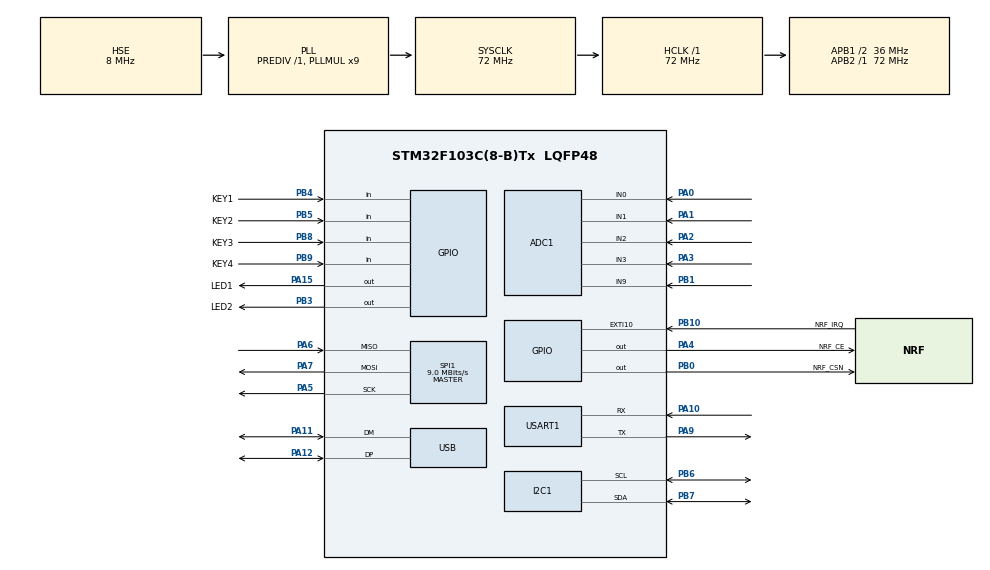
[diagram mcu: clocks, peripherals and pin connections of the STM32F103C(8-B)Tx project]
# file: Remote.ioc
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ADC1.Channel-0\#ChannelRegularConversion=ADC_CHANNEL_0
ADC1.ContinuousConvMode=DISABLE
ADC1.DataAlign=ADC_DATAALIGN_RIGHT
ADC1.DiscontinuousConvMode=DISABLE
ADC1.EnableAnalogWatchDog=false
ADC1.EnableRegularConversion=ENABLE
ADC1.ExternalTrigConv=ADC_SOFTWARE_START
ADC1.InjNumberOfConversion=0
ADC1.NbrOfConversion=1
ADC1.NbrOfConversionFlag=1
ADC1.Rank-0\#ChannelRegularConversion=1
ADC1.SamplingTime-0\#ChannelRegularConversion=ADC_SAMPLETIME_239CYCLES_5
ADC1.ScanConvMode=ADC_SCAN_DISABLE
ADC1.master=1
FREERTOS.BinarySemaphores01=NRF_status,Dynamic,NULL;Data_save,Dynamic,NULL;NRF_RX_OK,Dynamic,NULL
FREERTOS.Tasks01=defaultTask,0,128,StartDefaultTask,Default,NULL,Dynamic,NULL,NULL;myTask_ADC,2,128,StartTask_ADC,Default,NULL,Dynamic,NULL,NULL;myTask_Nrf,0,128,StartTask_NRF,Default,NULL,Dynamic,NULL,NULL;myTask_LED,-2,128,StartTask_LED,Default,NULL,Dynamic,NULL,NULL;myTask_OLED,-2,128,StartTask_OLED,Default,NULL,Dynamic,NULL,NULL;myTask_Key,0,128,StartTask_KEY,Default,NULL,Dynamic,NULL,NULL;Param_Task,-2,128,Start_Param_Task,Default,NULL,Dynamic,NULL,NULL
FREERTOS.configTOTAL_HEAP_SIZE=10240
Mcu.Family=STM32F1
Mcu.Name=STM32F103C(8-B)Tx
Mcu.Package=LQFP48
NVIC.EXTI15_10_IRQn=true\:5\:0\:false\:false\:true\:true\:true
NVIC.PriorityGroup=NVIC_PRIORITYGROUP_4
PA0-WKUP.Signal=ADCx_IN0
PA1.Signal=ADCx_IN1
PA10.Mode=Asynchronous
PA10.Signal=USART1_RX
PA11.Mode=Device
PA11.Signal=USB_DM
PA12.Mode=Device
PA12.Signal=USB_DP
PA13.Mode=Serial_Wire
PA13.Signal=SYS_JTMS-SWDIO
PA14.Mode=Serial_Wire
PA14.Signal=SYS_JTCK-SWCLK
PA15.GPIO_Label=LED1
PA15.GPIO_ModeDefaultOutputPP=GPIO_MODE_OUTPUT_PP
PA15.GPIO_PuPd=GPIO_PULLUP
PA15.GPIO_Speed=GPIO_SPEED_FREQ_HIGH
PA15.PinState=GPIO_PIN_SET
PA15.Signal=GPIO_Output
PA2.Signal=ADCx_IN2
PA3.Signal=ADCx_IN3
PA4.GPIO_Label=NRF_CE
PA4.GPIO_PuPd=GPIO_PULLUP
PA4.GPIO_Speed=GPIO_SPEED_FREQ_HIGH
PA4.PinState=GPIO_PIN_SET
PA4.Signal=GPIO_Output
PA5.Mode=Full_Duplex_Master
PA5.Signal=SPI1_SCK
PA6.Mode=Full_Duplex_Master
PA6.Signal=SPI1_MISO
PA7.Mode=Full_Duplex_Master
PA7.Signal=SPI1_MOSI
PA9.Mode=Asynchronous
PA9.Signal=USART1_TX
PB0.GPIO_Label=NRF_CSN
PB0.GPIO_PuPd=GPIO_PULLUP
PB0.GPIO_Speed=GPIO_SPEED_FREQ_HIGH
PB0.PinState=GPIO_PIN_SET
PB0.Signal=GPIO_Output
PB1.Signal=ADCx_IN9
PB10.GPIO_Label=NRF_IRQ
PB10.GPIO_ModeDefaultEXTI=GPIO_MODE_IT_FALLING
PB10.GPIO_PuPd=GPIO_PULLUP
PB10.Signal=GPXTI10
PB3.GPIO_Label=LED2
PB3.GPIO_ModeDefaultOutputPP=GPIO_MODE_OUTPUT_PP
PB3.GPIO_PuPd=GPIO_PULLUP
PB3.GPIO_Speed=GPIO_SPEED_FREQ_HIGH
PB3.PinState=GPIO_PIN_RESET
PB3.Signal=GPIO_Output
PB4.GPIO_Label=KEY1
PB4.GPIO_PuPd=GPIO_PULLDOWN
PB4.Signal=GPIO_Input
PB5.GPIO_Label=KEY2
PB5.GPIO_PuPd=GPIO_PULLDOWN
PB5.Signal=GPIO_Input
PB6.Mode=I2C
PB6.Signal=I2C1_SCL
PB7.Mode=I2C
PB7.Signal=I2C1_SDA
PB8.GPIO_Label=KEY3
PB8.GPIO_PuPd=GPIO_PULLDOWN
PB8.Signal=GPIO_Input
PB9.GPIO_Label=KEY4
PB9.GPIO_PuPd=GPIO_PULLDOWN
PB9.Signal=GPIO_Input
PD0-OSC_IN.Mode=HSE-External-Oscillator
PD0-OSC_IN.Signal=RCC_OSC_IN
PD1-OSC_OUT.Mode=HSE-External-Oscillator
PD1-OSC_OUT.Signal=RCC_OSC_OUT
ProjectManager.HeapSize=0x200
ProjectManager.StackSize=0x400
ProjectManager.TargetToolchain=MDK-ARM V5
RCC.ADCPresc=RCC_ADCPCLK2_DIV6
RCC.AHBFreq_Value=72000000
RCC.APB1CLKDivider=RCC_HCLK_DIV2
RCC.APB1Freq_Value=36000000
RCC.APB1TimFreq_Value=72000000
RCC.APB2Freq_Value=72000000
RCC.APB2TimFreq_Value=72000000
RCC.HCLKFreq_Value=72000000
RCC.PLLMUL=RCC_PLL_MUL9
RCC.SYSCLKFreq_VALUE=72000000
RCC.SYSCLKSource=RCC_SYSCLKSOURCE_PLLCLK
RCC.USBFreq_Value=48000000
RCC.USBPrescaler=RCC_USBCLKSOURCE_PLL_DIV1_5
SH.ADCx_IN0.0=ADC1_IN0,IN0
SH.ADCx_IN1.0=ADC1_IN1,IN1
SH.ADCx_IN2.0=ADC1_IN2,IN2
SH.ADCx_IN3.0=ADC1_IN3,IN3
SH.ADCx_IN9.0=ADC1_IN9,IN9
SPI1.BaudRatePrescaler=SPI_BAUDRATEPRESCALER_8
SPI1.CLKPhase=SPI_PHASE_1EDGE
SPI1.CLKPolarity=SPI_POLARITY_LOW
SPI1.CalculateBaudRate=9.0 MBits/s
SPI1.Direction=SPI_DIRECTION_2LINES
SPI1.Mode=SPI_MODE_MASTER
SPI1.VirtualType=VM_MASTER
USART1.VirtualMode=VM_ASYNC
VP_FREERTOS_VS_ENABLE.Mode=Enabled
board=custom

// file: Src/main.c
/**
  ******************************************************************************
  * @file           : main.c
  * @brief          : Main program body
  ******************************************************************************
  * This notice applies to any and all portions of this file
  * that are not between comment pairs USER CODE BEGIN and
  * USER CODE END. Other portions of this file, whether
  * inserted by the user or by software development tools
  * are owned by their respective copyright owners.
  *
  * Copyright (c) 2018 STMicroelectronics International N.V.
  * All rights reserved.
  *
  * Redistribution and use in source and binary forms, with or without
  * modification, are permitted, provided that the following conditions are met:
  *
  * 1. Redistribution of source code must retain the above copyright notice,
  *    this list of conditions and the following disclaimer.
  * 2. Redistributions in binary form must reproduce the above copyright notice,
  *    this list of conditions and the following disclaimer in the documentation
  *    and/or other materials provided with the distribution.
  * 3. Neither the name of STMicroelectronics nor the names of other
  *    contributors to this software may be used to endorse or promote products
  *    derived from this software without specific written permission.
  * 4. This software, including modifications and/or derivative works of this
  *    software, must execute solely and exclusively on microcontroller or
  *    microprocessor devices manufactured by or for STMicroelectronics.
  * 5. Redistribution and use of this software other than as permitted under
  *    this license is void and will automatically terminate your rights under
  *    this license.
  *
  * THIS SOFTWARE IS PROVIDED BY STMICROELECTRONICS AND CONTRIBUTORS "AS IS"
  * AND ANY EXPRESS, IMPLIED OR STATUTORY WARRANTIES, INCLUDING, BUT NOT
  * LIMITED TO, THE IMPLIED WARRANTIES OF MERCHANTABILITY, FITNESS FOR A
  * PARTICULAR PURPOSE AND NON-INFRINGEMENT OF THIRD PARTY INTELLECTUAL PROPERTY
  * RIGHTS ARE DISCLAIMED TO THE FULLEST EXTENT PERMITTED BY LAW. IN NO EVENT
  * SHALL STMICROELECTRONICS OR CONTRIBUTORS BE LIABLE FOR ANY DIRECT, INDIRECT,
  * INCIDENTAL, SPECIAL, EXEMPLARY, OR CONSEQUENTIAL DAMAGES (INCLUDING, BUT NOT
  * LIMITED TO, PROCUREMENT OF SUBSTITUTE GOODS OR SERVICES; LOSS OF USE, DATA,
  * OR PROFITS; OR BUSINESS INTERRUPTION) HOWEVER CAUSED AND ON ANY THEORY OF
  * LIABILITY, WHETHER IN CONTRACT, STRICT LIABILITY, OR TORT (INCLUDING
  * NEGLIGENCE OR OTHERWISE) ARISING IN ANY WAY OUT OF THE USE OF THIS SOFTWARE,
  * EVEN IF ADVISED OF THE POSSIBILITY OF SUCH DAMAGE.
  *
  ******************************************************************************
  */
#include "main.h"
#include "stm32f1xx_hal.h"
#include "cmsis_os.h"
#include "adc.h"
#include "i2c.h"
#include "spi.h"
#include "usart.h"
#include "usb.h"
#include "gpio.h"

/* USER CODE BEGIN Includes */
#include "oled.h"
#include "stmflash.h"
/* USER CODE END Includes */

/* USER CODE BEGIN PV */
/* Private variables ---------------------------------------------------------*/
uint16_t check = 0;
/* USER CODE END PV */

void SystemClock_Config(void);
void MX_FREERTOS_Init(void);

/* USER CODE BEGIN PFP */
/* Private function prototypes -----------------------------------------------*/

/* USER CODE END PFP */

int main(void)
{

  /* MCU Configuration----------------------------------------------------------*/

  /* Reset of all peripherals, Initializes the Flash interface and the Systick. */
  HAL_Init();

  /* Configure the system clock */
  SystemClock_Config();

  /* Initialize all configured peripherals */
  MX_GPIO_Init();
  MX_ADC1_Init();
  MX_I2C1_Init();
  MX_SPI1_Init();
  MX_USB_PCD_Init();
  MX_USART1_UART_Init();
  /* USER CODE BEGIN 2 */
  HAL_Delay(1000);
  OLED_Init();
  HAL_Delay(1000);
  OLED_Init();
  oled_dis_str();

  /* USER CODE END 2 */

  /* Call init function for freertos objects (in freertos.c) */
  MX_FREERTOS_Init();

  /* Start scheduler */
  osKernelStart();

  /* We should never get here as control is now taken by the scheduler */

  /* Infinite loop */
  while (1)
  {

  }

}

void SystemClock_Config(void)
{

  RCC_OscInitTypeDef RCC_OscInitStruct;
  RCC_ClkInitTypeDef RCC_ClkInitStruct;
  RCC_PeriphCLKInitTypeDef PeriphClkInit;

    /**Initializes the CPU, AHB and APB busses clocks
    */
  RCC_OscInitStruct.OscillatorType = RCC_OSCILLATORTYPE_HSE;
  RCC_OscInitStruct.HSEState = RCC_HSE_ON;
  RCC_OscInitStruct.HSEPredivValue = RCC_HSE_PREDIV_DIV1;
  RCC_OscInitStruct.HSIState = RCC_HSI_ON;
  RCC_OscInitStruct.PLL.PLLState = RCC_PLL_ON;
  RCC_OscInitStruct.PLL.PLLSource = RCC_PLLSOURCE_HSE;
  RCC_OscInitStruct.PLL.PLLMUL = RCC_PLL_MUL9;
  if (HAL_RCC_OscConfig(&RCC_OscInitStruct) != HAL_OK)
  {
    _Error_Handler(__FILE__, __LINE__);
  }

    /**Initializes the CPU, AHB and APB busses clocks
    */
  RCC_ClkInitStruct.ClockType = RCC_CLOCKTYPE_HCLK|RCC_CLOCKTYPE_SYSCLK
                              |RCC_CLOCKTYPE_PCLK1|RCC_CLOCKTYPE_PCLK2;
  RCC_ClkInitStruct.SYSCLKSource = RCC_SYSCLKSOURCE_PLLCLK;
  RCC_ClkInitStruct.AHBCLKDivider = RCC_SYSCLK_DIV1;
  RCC_ClkInitStruct.APB1CLKDivider = RCC_HCLK_DIV2;
  RCC_ClkInitStruct.APB2CLKDivider = RCC_HCLK_DIV1;

  if (HAL_RCC_ClockConfig(&RCC_ClkInitStruct, FLASH_LATENCY_2) != HAL_OK)
  {
    _Error_Handler(__FILE__, __LINE__);
  }

  PeriphClkInit.PeriphClockSelection = RCC_PERIPHCLK_ADC|RCC_PERIPHCLK_USB;
  PeriphClkInit.AdcClockSelection = RCC_ADCPCLK2_DIV6;
  PeriphClkInit.UsbClockSelection = RCC_USBCLKSOURCE_PLL_DIV1_5;
  if (HAL_RCCEx_PeriphCLKConfig(&PeriphClkInit) != HAL_OK)
  {
    _Error_Handler(__FILE__, __LINE__);
  }

    /**Configure the Systick interrupt time
    */
  HAL_SYSTICK_Config(HAL_RCC_GetHCLKFreq()/1000);

    /**Configure the Systick
    */
  HAL_SYSTICK_CLKSourceConfig(SYSTICK_CLKSOURCE_HCLK);

  /* SysTick_IRQn interrupt configuration */
  HAL_NVIC_SetPriority(SysTick_IRQn, 15, 0);
}

void _Error_Handler(char *file, int line)
{
  while(1)
  {
  }
}

/************************ (C) COPYRIGHT STMicroelectronics *****END OF FILE****/

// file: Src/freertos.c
/**
  ******************************************************************************
  * File Name          : freertos.c
  * Description        : Code for freertos applications
  ******************************************************************************
  * This notice applies to any and all portions of this file
  * that are not between comment pairs USER CODE BEGIN and
  * USER CODE END. Other portions of this file, whether
  * inserted by the user or by software development tools
  * are owned by their respective copyright owners.
  *
  * Copyright (c) 2018 STMicroelectronics International N.V.
  * All rights reserved.
  *
  * Redistribution and use in source and binary forms, with or without
  * modification, are permitted, provided that the following conditions are met:
  *
  * 1. Redistribution of source code must retain the above copyright notice,
  *    this list of conditions and the following disclaimer.
  * 2. Redistributions in binary form must reproduce the above copyright notice,
  *    this list of conditions and the following disclaimer in the documentation
  *    and/or other materials provided with the distribution.
  * 3. Neither the name of STMicroelectronics nor the names of other
  *    contributors to this software may be used to endorse or promote products
  *    derived from this software without specific written permission.
  * 4. This software, including modifications and/or derivative works of this
  *    software, must execute solely and exclusively on microcontroller or
  *    microprocessor devices manufactured by or for STMicroelectronics.
  * 5. Redistribution and use of this software other than as permitted under
  *    this license is void and will automatically terminate your rights under
  *    this license.
  *
  * THIS SOFTWARE IS PROVIDED BY STMICROELECTRONICS AND CONTRIBUTORS "AS IS"
  * AND ANY EXPRESS, IMPLIED OR STATUTORY WARRANTIES, INCLUDING, BUT NOT
  * LIMITED TO, THE IMPLIED WARRANTIES OF MERCHANTABILITY, FITNESS FOR A
  * PARTICULAR PURPOSE AND NON-INFRINGEMENT OF THIRD PARTY INTELLECTUAL PROPERTY
  * RIGHTS ARE DISCLAIMED TO THE FULLEST EXTENT PERMITTED BY LAW. IN NO EVENT
  * SHALL STMICROELECTRONICS OR CONTRIBUTORS BE LIABLE FOR ANY DIRECT, INDIRECT,
  * INCIDENTAL, SPECIAL, EXEMPLARY, OR CONSEQUENTIAL DAMAGES (INCLUDING, BUT NOT
  * LIMITED TO, PROCUREMENT OF SUBSTITUTE GOODS OR SERVICES; LOSS OF USE, DATA,
  * OR PROFITS; OR BUSINESS INTERRUPTION) HOWEVER CAUSED AND ON ANY THEORY OF
  * LIABILITY, WHETHER IN CONTRACT, STRICT LIABILITY, OR TORT (INCLUDING
  * NEGLIGENCE OR OTHERWISE) ARISING IN ANY WAY OUT OF THE USE OF THIS SOFTWARE,
  * EVEN IF ADVISED OF THE POSSIBILITY OF SUCH DAMAGE.
  *
  ******************************************************************************
  */

#include "FreeRTOS.h"
#include "task.h"
#include "cmsis_os.h"

/* USER CODE BEGIN Includes */
#include "adc.h"
#include "oled.h"
#include "usart.h"
#include "24l01.h"
#include "gpio.h"
#include "stmflash.h"
#include "24l01.h"
/* USER CODE END Includes */

osThreadId defaultTaskHandle;
osThreadId myTask_ADCHandle;
osThreadId myTask_NrfHandle;
osThreadId myTask_LEDHandle;
osThreadId myTask_OLEDHandle;
osThreadId myTask_KeyHandle;
osThreadId Param_TaskHandle;
osSemaphoreId NRF_statusHandle;
osSemaphoreId Data_saveHandle;
osSemaphoreId NRF_RX_OKHandle;

/* USER CODE BEGIN Variables */
osMailQId ADC_ValueHandle;
osMailQId Nrf_TX_BuffHandle;
osMailQId RC_Offest_buffHandle;

extern uint16_t RC_ADC_Buff[4];
int16_t RC_offest[4];
extern  uint8_t Tx_buff[33] ;
extern uint8_t key_status;
uint8_t IRQ_timeout = 0;

uint16_t bat_value = 0;
  float bat_voltage;
/* USER CODE END Variables */

void StartDefaultTask(void const * argument);
void StartTask_ADC(void const * argument);
void StartTask_NRF(void const * argument);
void StartTask_LED(void const * argument);
void StartTask_OLED(void const * argument);
void StartTask_KEY(void const * argument);
void Start_Param_Task(void const * argument);

void MX_FREERTOS_Init(void); /* (MISRA C 2004 rule 8.1) */

/* Hook prototypes */

/* Init FreeRTOS */

void MX_FREERTOS_Init(void) {

  /* Create the semaphores(s) */
  /* definition and creation of NRF_status */
  osSemaphoreDef(NRF_status);
  NRF_statusHandle = osSemaphoreCreate(osSemaphore(NRF_status), 1);

  /* definition and creation of Data_save */
  osSemaphoreDef(Data_save);
  Data_saveHandle = osSemaphoreCreate(osSemaphore(Data_save), 1);

  /* definition and creation of NRF_RX_OK */
  osSemaphoreDef(NRF_RX_OK);
  NRF_RX_OKHandle = osSemaphoreCreate(osSemaphore(NRF_RX_OK), 1);

  /* Create the thread(s) */
  /* definition and creation of defaultTask */
  osThreadDef(defaultTask, StartDefaultTask, osPriorityNormal, 0, 128);
  defaultTaskHandle = osThreadCreate(osThread(defaultTask), NULL);

  /* definition and creation of myTask_ADC */
  osThreadDef(myTask_ADC, StartTask_ADC, osPriorityHigh, 0, 128);
  myTask_ADCHandle = osThreadCreate(osThread(myTask_ADC), NULL);

  /* definition and creation of myTask_Nrf */
  osThreadDef(myTask_Nrf, StartTask_NRF, osPriorityNormal, 0, 128);
  myTask_NrfHandle = osThreadCreate(osThread(myTask_Nrf), NULL);

  /* definition and creation of myTask_LED */
  osThreadDef(myTask_LED, StartTask_LED, osPriorityLow, 0, 128);
  myTask_LEDHandle = osThreadCreate(osThread(myTask_LED), NULL);

  /* definition and creation of myTask_OLED */
  osThreadDef(myTask_OLED, StartTask_OLED, osPriorityLow, 0, 128);
  myTask_OLEDHandle = osThreadCreate(osThread(myTask_OLED), NULL);

  /* definition and creation of myTask_Key */
  osThreadDef(myTask_Key, StartTask_KEY, osPriorityNormal, 0, 128);
  myTask_KeyHandle = osThreadCreate(osThread(myTask_Key), NULL);

  /* definition and creation of Param_Task */
  osThreadDef(Param_Task, Start_Param_Task, osPriorityLow, 0, 128);
  Param_TaskHandle = osThreadCreate(osThread(Param_Task), NULL);

  /* USER CODE BEGIN RTOS_QUEUES */
  /* add queues, ... */
  /* definition and creation of ADC_Value */
  /* what about the sizeof here??? cd native code */
  osMailQDef(ADC_Value, 4, uint16_t);
  ADC_ValueHandle = osMailCreate(osMailQ(ADC_Value), NULL);

  /* definition and creation of Nrf_TX_Buff */
  /* what about the sizeof here??? cd native code */
  osMailQDef(Nrf_TX_Buff, 4, uint16_t);
  Nrf_TX_BuffHandle = osMailCreate(osMailQ(Nrf_TX_Buff), NULL);

  /* definition and creation of RC_Offest_buff */
  /* what about the sizeof here??? cd native code */
  osMailQDef(RC_Offest_buff, 4, int16_t);
  RC_Offest_buffHandle = osMailCreate(osMailQ(RC_Offest_buff), NULL);
  /* USER CODE END RTOS_QUEUES */
}

/* StartDefaultTask function */
void StartDefaultTask(void const * argument)
{

  for(;;)
  {
    osDelay(1);
  }
}

/* StartTask_ADC function */
void StartTask_ADC(void const * argument)
{
  /* USER CODE BEGIN StartTask_ADC */
  uint8_t i = 0;
  /* Infinite loop */
  for(;;)
  {
    Get_Adc_Average(10);
    bat_value = Get_Adc(ADC_CHANNEL_9);
    bat_voltage = (float)(bat_value *2 * 330 )/4096;
    for (i = 0;i<4 ;i++)
      RC_ADC_Buff[i] += RC_offest[i];
    osMailPut(ADC_ValueHandle,RC_ADC_Buff);
    osMailPut(Nrf_TX_BuffHandle,RC_ADC_Buff);
    osDelay(10);
  }
  /* USER CODE END StartTask_ADC */
}

/* StartTask_NRF function */
void StartTask_NRF(void const * argument)
{
  /* USER CODE BEGIN StartTask_NRF */
  osEvent TX_mail;
  uint8_t sta;
  NRF24L01_Init();
  while(NRF24L01_Check() != 0)
  {
    HAL_GPIO_WritePin(LED1_GPIO_Port,LED2_Pin,GPIO_PIN_RESET);
    osDelay(100);
  }
  NRF24L01_config();
  HAL_GPIO_WritePin(LED2_GPIO_Port,LED2_Pin,GPIO_PIN_SET);
  /* Infinite loop */
  for(;;)
  {
    IRQ_timeout ++;
    TX_mail = osMailGet(Nrf_TX_BuffHandle,10);
    if(TX_mail.status == osEventMail)
    {

      nrf_sand_rc();
      NRF24L01_Mode(IT_TX);
      NRF24L01_CE_L;
      NRF24L01_Write_Buf(WR_TX_PLOAD,Tx_buff,TX_PLOAD_WIDTH);//写数据到TX BUF  32个字节
      NRF24L01_CE_H;//启动发送
    }
    if(IRQ_timeout>= 20)
    {
      sta=NRF24L01_Read_Reg(NRF_READ_REG + STATUS);  //读取状态寄存器的值
      NRF24L01_Write_Reg(NRF_WRITE_REG+STATUS,sta); //清除TX_DS或MAX_RT中断标志
      NRF24L01_Write_Reg(FLUSH_TX,0xff);//清除TX FIFO寄存器
      NRF24L01_Write_Reg(FLUSH_RX,0xff);//清除TX FIFO寄存器
    }
//    if(NRF24L01_TxPacket(Tx_buff) == TX_OK)
//    {
//      osSemaphoreRelease(NRF_statusHandle);
//    }

    osDelay(5);
  }
  /* USER CODE END StartTask_NRF */
}

/* StartTask_LED function */
void StartTask_LED(void const * argument)
{
  /* USER CODE BEGIN StartTask_LED */
  /* Infinite loop */
  for(;;)
  {
    if(osSemaphoreWait(NRF_statusHandle,0x10) == osOK)
    {
      osSemaphoreRelease(NRF_statusHandle);
      HAL_GPIO_TogglePin(LED2_GPIO_Port,LED2_Pin);
    }

    osDelay(1);
  }
  /* USER CODE END StartTask_LED */
}

/* StartTask_OLED function */
void StartTask_OLED(void const * argument)
{
  /* USER CODE BEGIN StartTask_OLED */
  extern uint8_t Rx_buff[33] ;

  osDelay(1000);
  osEvent display_mail;
  /* Infinite loop */
  for(;;)
  {
    display_mail = osMailGet(ADC_ValueHandle,10);
    if(display_mail.status == osEventMail)
    {
      OLED_P6x8_BARO(90,1,bat_voltage);
      oled_show_RC_data(display_mail.value.p);
    }

//    display_mail = osMailGet(RC_Offest_buffHandle,10);
//    if(display_mail.status == osEventMail)
//      oled_show_offest_data(display_mail.value.p);

    if(osSemaphoreWait(NRF_statusHandle,0x10) == osOK)
    {
      OLED_P6x8Str(72,0,"connected");
    }
    else
    {
      OLED_P6x8Str(72,0," vanished");
    }

    if(osSemaphoreWait(NRF_RX_OKHandle,0x10) == osOK)
    {
      NRF_Receive_Dal(Rx_buff);
      OLED_P6x8_BARO(90,2,receive_data.BAT_voltage);

      OLED_P6x8_BARO (96,6,receive_data.Altitude);

      OLED_P6x8_float(36,0,receive_data.pitch);
      OLED_P6x8_float(36,1,receive_data.roll);
      OLED_P6x8data(36,2,receive_data.yaw / 10);

      if(receive_data.fly_mode == 1)
      {
        OLED_P6x8Str(104,5,"Nor");
      }
      else if(receive_data.fly_mode == 2)
      {
        OLED_P6x8Str(104,5,"Alt");
      }
      else
      {
        OLED_P6x8Str(104,5,"   ");
      }

      if(receive_data.Armed == 1)
      {
        OLED_P6x8Str(110,4,"Yes");
      }
      else{
        OLED_P6x8Str(110,4,"No ");
      }
    }

    change_offest(key_status);
    osDelay(100);
  }
  /* USER CODE END StartTask_OLED */
}

/* StartTask_KEY function */
void StartTask_KEY(void const * argument)
{
  /* USER CODE BEGIN StartTask_KEY */
  uint8_t i = 0;
  uint16_t err;

  /* Infinite loop */
  for(;;)
  {
    KEY_Scan(1);
    osMailPut(RC_Offest_buffHandle,RC_offest);
    osDelay(100);
  }
  /* USER CODE END StartTask_KEY */
}

/* Start_Param_Task function */
void Start_Param_Task(void const * argument)
{
  /* USER CODE BEGIN Start_Param_Task */
  STMFLASH_Read(0x0800FC00,(uint16_t*)RC_offest,4);
  /* Infinite loop */
  for(;;)
  {
    if(osSemaphoreWait(Data_saveHandle,10) == osOK)
    {
      STMFLASH_Write(0x0800FC00,(uint16_t*)RC_offest,4);
    }

    osDelay(100);
  }
  /* USER CODE END Start_Param_Task */
}

/************************ (C) COPYRIGHT STMicroelectronics *****END OF FILE****/
